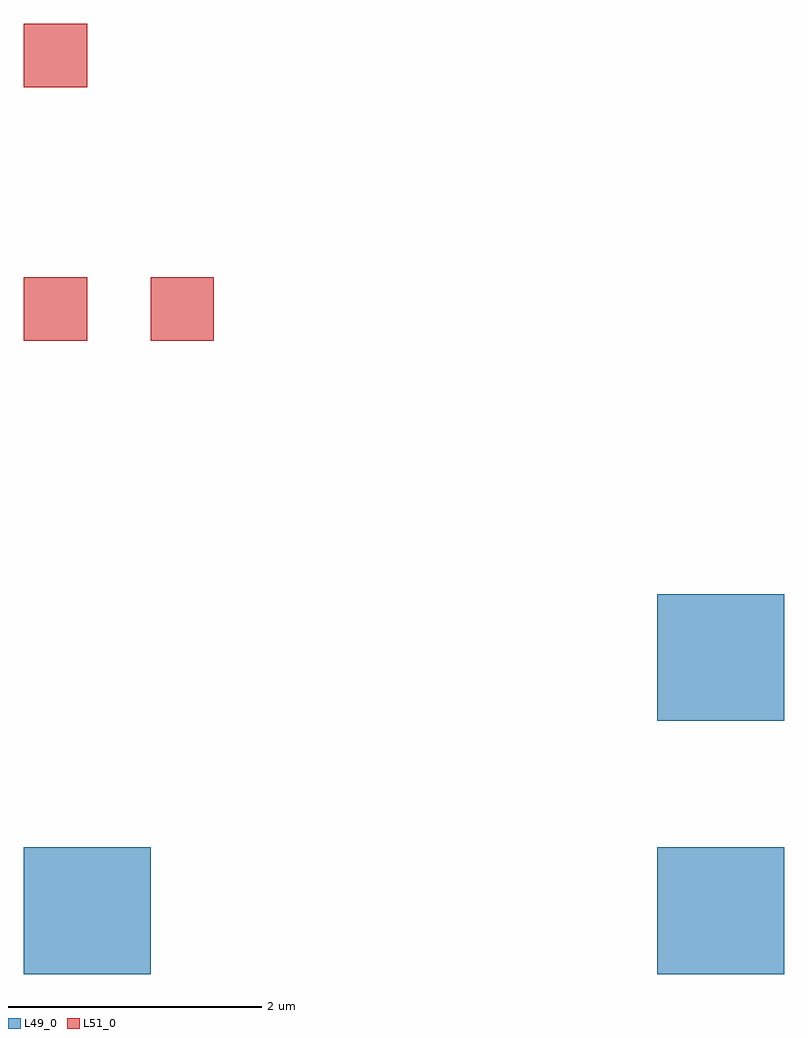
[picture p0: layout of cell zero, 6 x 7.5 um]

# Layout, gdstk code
import gdstk
lib = gdstk.Library(unit=1e-6, precision=1e-09)
def R(c, l, rs):  # rectangles x0, y0, x1, y1
    for r in rs: c.add(gdstk.rectangle(r[:2], r[2:], *l))
L49_0 = (49, 0)
L51_0 = (51, 0)

c_z = lib.new_cell('z')
R(c_z, L49_0, [(0,0,1,1)])

zero = lib.new_cell('zero')
R(zero, L51_0, [(0,5,0.5,5.5), (0,5,0.5,5.5), (1,5,1.5,5.5), (1,5,1.5,5.5), (0,7,0.5,7.5), (0,7,0.5,7.5), (0,7,0.5,7.5)])
r = gdstk.Reference(c_z, (0,0)); r.repetition = gdstk.Repetition(3, 1, v1=(0,0), v2=(0,0)); zero.add(r)
r = gdstk.Reference(c_z, (5,0)); r.repetition = gdstk.Repetition(2, 2, v1=(0,0), v2=(0,2)); zero.add(r)

lib.write_gds('zero.gds')
